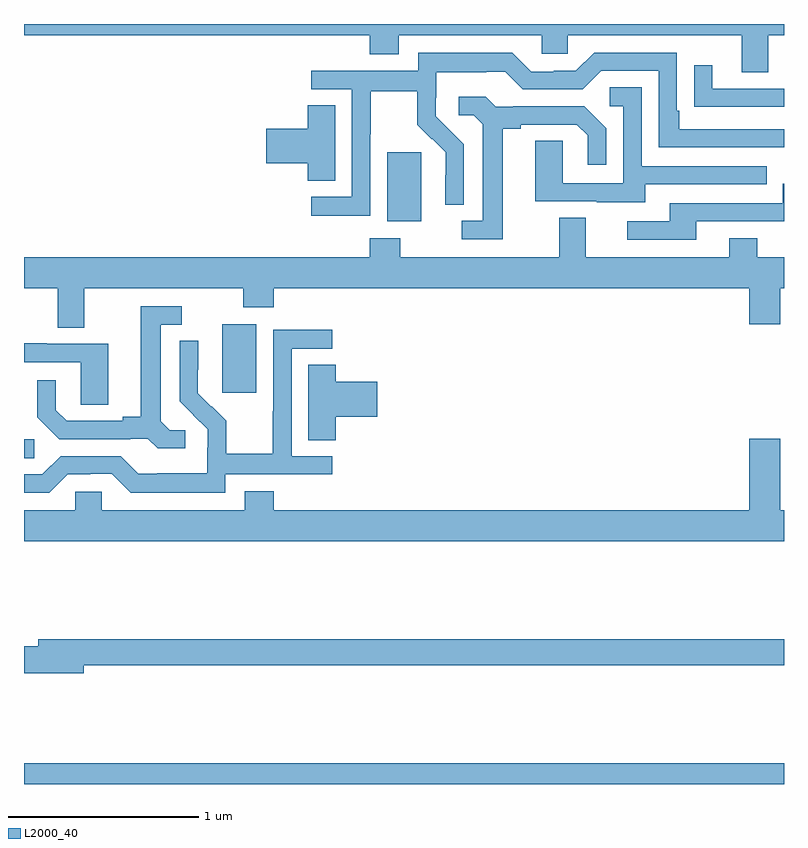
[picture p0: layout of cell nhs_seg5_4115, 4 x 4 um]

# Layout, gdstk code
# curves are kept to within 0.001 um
import gdstk
lib = gdstk.Library(unit=1e-6, precision=1e-09)
def R(c, l, rs):  # rectangles x0, y0, x1, y1
    for r in rs: c.add(gdstk.rectangle(r[:2], r[2:], *l))
def P(c, l, *ps):  # polygons
    for p in ps: c.add(gdstk.Polygon(p, *l))
L2000_40 = (2000, 40)

nhs_seg5_4115 = lib.new_cell('nhs_seg5_4115')
R(nhs_seg5_4115, L2000_40, [(353,872.799,357,872.908), (353,874.513,353.053,874.614), (354.044,874.857,354.223,875.218), (354.911,875.762,355.09,876.123)])
P(nhs_seg5_4115, L2000_40, [(356.917,876.74),(357,876.74),(357,876.799),(353,876.799),(353,876.74),(354.821,876.74),(354.821,876.641),(354.973,876.641),(354.973,876.74),(355.725,876.74),(355.725,876.642),(355.863,876.642),(355.863,876.74),(356.777,876.74),(356.777,876.546),(356.917,876.546)],
  [(354.822,876.22),(354.825,876.22),(354.825,876.444),(355.069,876.444),(355.069,876.269),(355.146,876.192),(355.149,876.195),(355.22,876.125),(355.22,876.002),(355.218,876.002),(355.218,875.848),(355.314,875.848),(355.314,876.166),(355.168,876.314),(355.168,876.411),(355.17,876.411),(355.17,876.545),(355.433,876.545),(355.433,876.549),(355.533,876.549),(355.626,876.456),(355.941,876.456),(356.037,876.552),(356.34,876.552),(356.34,876.15),(357,876.15),(357,876.246),(356.449,876.246),(356.449,876.343),(356.436,876.343),(356.436,876.648),(356.001,876.648),(355.905,876.552),(355.787,876.552),(355.787,876.549),(355.671,876.549),(355.571,876.649),(355.074,876.649),(355.074,876.552),(354.513,876.552),(354.513,876.456),(354.726,876.456),(354.726,875.889),(354.513,875.889),(354.513,875.791),(354.822,875.791)],
  [(357,876.459),(356.623,876.459),(356.623,876.583),(356.527,876.583),(356.527,876.364),(356.629,876.364),(356.629,876.363),(357,876.363)],
  [(356.269,875.955),(356.909,875.955),(356.909,876.051),(356.25,876.051),(356.25,876.467),(356.082,876.467),(356.082,876.366),(356.154,876.366),(356.154,875.961),(355.836,875.961),(355.836,876.185),(355.691,876.185),(355.691,875.865),(356.015,875.865),(356.015,875.861),(356.269,875.861)],
  [(355.519,876.248),(355.615,876.248),(355.615,876.27),(355.91,876.27),(355.967,876.213),(355.967,876.057),(356.064,876.057),(356.064,876.25),(355.948,876.366),(355.576,876.366),(355.576,876.363),(355.482,876.363),(355.43,876.415),(355.287,876.415),(355.287,876.318),(355.368,876.318),(355.415,876.271),(355.415,875.763),(355.305,875.763),(355.305,875.667),(355.519,875.667)],
  [(354.637,876.371),(354.494,876.371),(354.494,876.248),(354.276,876.248),(354.276,876.065),(354.494,876.065),(354.494,875.974),(354.637,875.974)],
  [(356.539,875.76),(357,875.76),(357,875.959),(356.994,875.959),(356.994,875.856),(356.399,875.856),(356.399,875.76),(356.175,875.76),(356.175,875.664),(356.539,875.664)],
  [(353,875.408),(353.177,875.408),(353.177,875.2),(353.317,875.2),(353.317,875.408),(354.154,875.408),(354.154,875.309),(354.314,875.309),(354.314,875.408),(356.816,875.408),(356.816,875.22),(356.98,875.22),(356.98,875.408),(357,875.408),(357,875.572),(356.859,875.572),(356.859,875.671),(356.711,875.671),(356.711,875.572),(355.957,875.572),(355.957,875.78),(355.817,875.78),(355.817,875.572),(354.981,875.572),(354.981,875.671),(354.821,875.671),(354.821,875.572),(353,875.572)],
  [(353.848,874.662),(353.766,874.662),(353.719,874.709),(353.719,875.217),(353.83,875.217),(353.83,875.313),(353.615,875.313),(353.615,874.733),(353.519,874.733),(353.519,874.71),(353.224,874.71),(353.167,874.767),(353.167,874.924),(353.07,874.924),(353.07,874.73),(353.186,874.614),(353.558,874.614),(353.558,874.617),(353.652,874.617),(353.704,874.565),(353.848,874.565)],
  [(354.06,874.428),(354.622,874.428),(354.622,874.524),(354.408,874.524),(354.408,875.091),(354.622,875.091),(354.622,875.19),(354.312,875.19),(354.312,874.76),(354.31,874.76),(354.31,874.537),(354.065,874.537),(354.065,874.711),(353.988,874.788),(353.985,874.785),(353.915,874.856),(353.916,875.132),(353.82,875.132),(353.82,874.814),(353.966,874.666),(353.966,874.569),(353.964,874.569),(353.964,874.435),(353.701,874.435),(353.701,874.431),(353.601,874.431),(353.508,874.524),(353.193,874.524),(353.097,874.428),(353,874.428),(353,874.332),(353.133,874.332),(353.229,874.428),(353.348,874.428),(353.348,874.431),(353.463,874.431),(353.563,874.331),(354.06,874.331)],
  [(353.443,875.115),(353.119,875.115),(353.119,875.119),(353,875.119),(353,875.019),(353.298,875.019),(353.298,874.795),(353.443,874.795)],
  [(354.641,874.733),(354.859,874.733),(354.859,874.916),(354.641,874.916),(354.641,875.006),(354.497,875.006),(354.497,874.609),(354.641,874.609)],
  [(357,874.24),(356.98,874.24),(356.98,874.615),(356.816,874.615),(356.816,874.24),(354.314,874.24),(354.314,874.339),(354.161,874.339),(354.161,874.24),(353.409,874.24),(353.409,874.338),(353.271,874.338),(353.271,874.24),(353,874.24),(353,874.076),(357,874.076)],
  [(353.314,873.424),(357,873.424),(357,873.56),(353.075,873.56),(353.075,873.524),(353,873.524),(353,873.382),(353.314,873.382)])

lib.write_gds('nhs_seg5_4115.gds')
